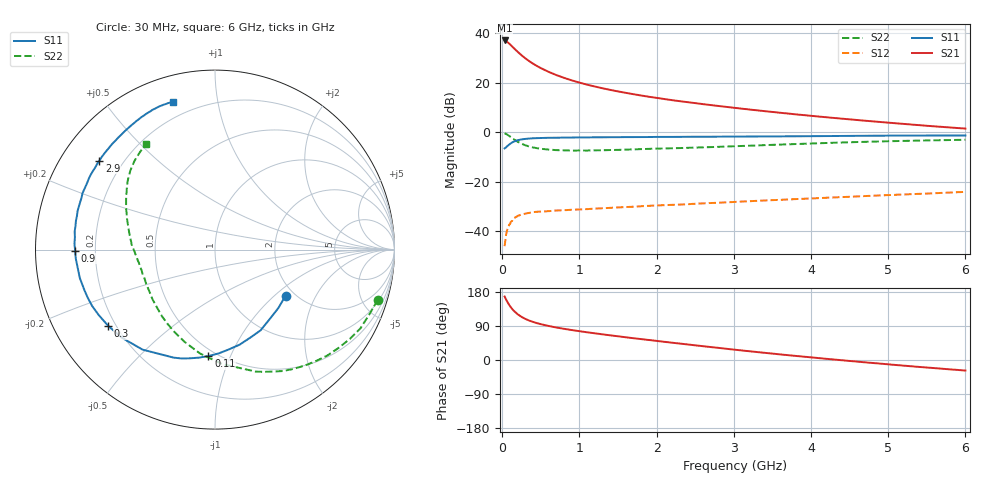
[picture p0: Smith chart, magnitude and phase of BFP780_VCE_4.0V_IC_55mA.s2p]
! Infineon Technologies  Discrete & RF Semiconductors
! BFP780
! VCE =  4.0 V,  IC =  55 mA
! Common Emitter S-Parameters:  Jul 2015
# GHz  S  MA  R  50
!  f  S11  S21  S12  S22
! GHz  MAG  ANG  MAG  ANG  MAG  ANG  MAG  ANG
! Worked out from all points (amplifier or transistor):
!   75 points, 30 MHz to 6 GHz, reference 50 ohm
!   highest |S21| = 37.2 dB at 30 MHz (marker M1)
!   |S21| within 3 dB of that: start of sweep to 146.1 MHz
!   unconditionally stable (mu >= 1): 1.914 GHz to end of sweep
!   at 150 MHz: K = 0.15, MSG = 34.5 dB, |S12| = -34.9 dB
!   at 2.3 GHz: K = 1.10, MAG = 19.0 dB, |S12| = -29.3 dB
!   at 6 GHz: K = 1.23, MAG = 9.9 dB, |S12| = -24.2 dB
!   S11 on the Smith chart (normalised r, x): 30 MHz: 1.80, -1.18; 110 MHz: 0.45, -0.83; 300 MHz: 0.17, -0.31; 900 MHz: 0.12, -0.00; 2.9 GHz: 0.12, +0.34; 6 GHz: 0.12, +0.75
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0.03  0.4697 -33.1  72.25 167.5  0.0049 65.0  0.9493 -17.2
0.05  0.4937 -52.3  69.63 159.2  0.0085 62.5  0.9214 -28.5
0.07  0.5289 -68.4  66.17 151.9  0.0112 62.6  0.8798 -38.5
0.09  0.5617 -82.2  62.21 145.3  0.0134 55.5  0.8371 -48.0
0.11  0.594 -93.5  58.12 139.4  0.0152 52.7  0.795 -56.8
0.15  0.6444 -110.9  50.47 129.7  0.018 45.7  0.7175 -71.4
0.2  0.6881 -125.9  42.41 120.6  0.0201 38.5  0.639 -86.4
0.25  0.7141 -136.5  36.19 113.7  0.0215 33.9  0.5843 -98.3
0.3  0.7311 -144.4  31.26 108.3  0.0224 30.4  0.5418 -108.1
0.35  0.7434 -150.6  27.42 103.9  0.0232 27.8  0.5117 -116.2
0.4  0.753 -155.3  24.36 100.4  0.024 25.6  0.4903 -122.8
0.5  0.7618 -162.7  19.86 94.5  0.0246 23.3  0.4605 -133.5
0.7  0.7719 -172.7  14.37 85.8  0.0259 21.7  0.4328 -148.1
0.9  0.7795 -179.6  11.23 79.0  0.0268 21.6  0.4242 -157.7
1.1  0.7835 175.0  9.173 73.1  0.0276 21.4  0.4251 -164.8
1.5  0.7916 166.3  6.697 62.6  0.0299 22.8  0.438 -174.5
2.1  0.8022 155.4  4.694 48.0  0.0332 23.5  0.4675 175.3
2.9  0.8129 142.4  3.258 29.7  0.0379 24.4  0.5118 162.4
3.1  0.8162 139.4  3.001 25.3  0.0393 24.2  0.5254 159.3
4.1  0.8322 125.4  2.075 5.0  0.0461 22.5  0.5966 145.5
5.1  0.8529 114.1  1.516 -13.2  0.0539 18.9  0.6604 133.6
6  0.8568 105.9  1.182 -27.9  0.0617 14.0  0.7027 123.0
